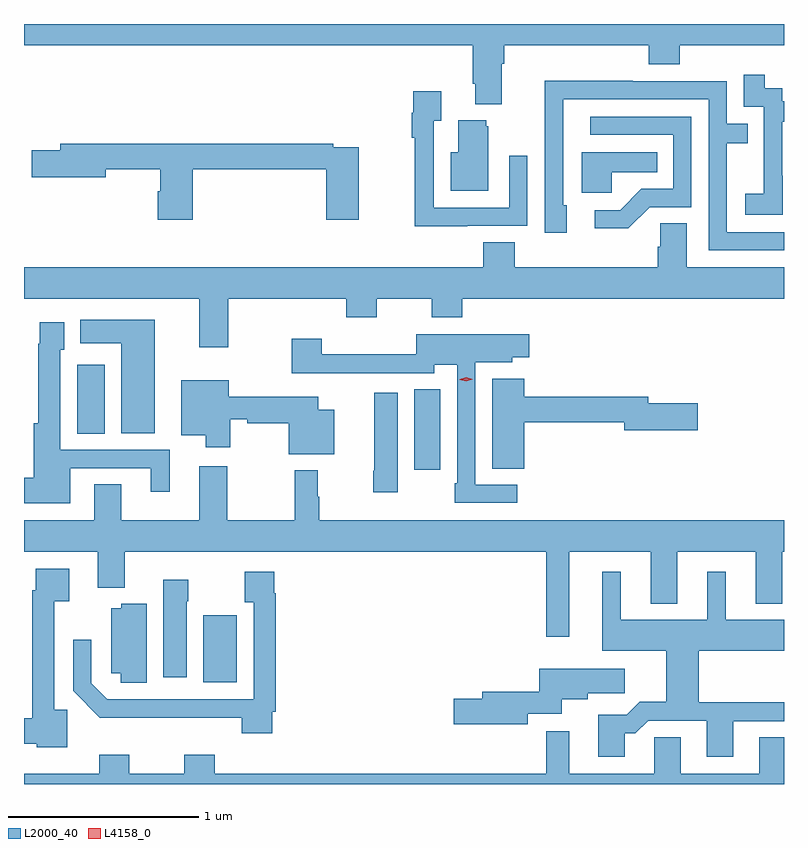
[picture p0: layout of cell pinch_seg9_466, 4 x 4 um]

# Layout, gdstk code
import gdstk
lib = gdstk.Library(unit=1e-6, precision=1e-09)
def R(c, l, rs):  # rectangles x0, y0, x1, y1
    for r in rs: c.add(gdstk.rectangle(r[:2], r[2:], *l))
def P(c, l, *ps):  # polygons
    for p in ps: c.add(gdstk.Polygon(p, *l))
L2000_40 = (2000, 40)
L4158_0 = (4158, 0)

pinch_seg9_466 = lib.new_cell('pinch_seg9_466')
R(pinch_seg9_466, L2000_40, [(335.846,1191.522,335.983,1191.947), (334.073,1191.712,334.216,1192.075)])
P(pinch_seg9_466, L2000_40, [(336.307,1193.66),(336.32,1193.66),(336.32,1193.756),(337.079,1193.756),(337.079,1193.657),(337.244,1193.657),(337.244,1193.756),(337.792,1193.756),(337.792,1193.869),(333.792,1193.869),(333.792,1193.756),(336.155,1193.756),(336.155,1193.554),(336.167,1193.554),(336.167,1193.447),(336.307,1193.447)],
  [(337.785,1193.071),(337.784,1193.071),(337.784,1193.355),(337.792,1193.355),(337.792,1193.463),(337.782,1193.463),(337.782,1193.532),(337.69,1193.532),(337.69,1193.602),(337.581,1193.602),(337.581,1193.433),(337.686,1193.433),(337.686,1193.204),(337.685,1193.204),(337.685,1192.975),(337.587,1192.975),(337.587,1192.865),(337.785,1192.865)],
  [(337.792,1192.773),(337.491,1192.773),(337.491,1193.242),(337.601,1193.242),(337.601,1193.343),(337.491,1193.343),(337.491,1193.568),(336.995,1193.568),(336.995,1193.57),(336.532,1193.57),(336.532,1193.263),(336.534,1193.263),(336.534,1192.77),(336.649,1192.77),(336.649,1192.914),(336.63,1192.914),(336.63,1193.218),(336.631,1193.218),(336.631,1193.472),(337.395,1193.472),(337.395,1192.677),(337.792,1192.677)],
  [(336.125,1192.806),(336.441,1192.806),(336.441,1193.176),(336.345,1193.176),(336.345,1192.902),(335.949,1192.902),(335.949,1193.359),(335.989,1193.359),(335.989,1193.515),(335.841,1193.515),(335.841,1193.402),(335.833,1193.402),(335.833,1193.27),(335.848,1193.27),(335.848,1192.805),(336.125,1192.805)],
  [(337.086,1192.905),(337.305,1192.905),(337.305,1193.382),(336.771,1193.382),(336.771,1193.286),(337.209,1193.286),(337.209,1193.001),(337.04,1193.001),(336.929,1192.89),(336.795,1192.89),(336.795,1192.793),(336.973,1192.793)],
  [(336.235,1193.331),(336.224,1193.331),(336.224,1193.362),(336.077,1193.362),(336.077,1193.194),(336.038,1193.194),(336.038,1192.991),(336.235,1192.991)],
  [(334.679,1193.104),(335.384,1193.104),(335.384,1192.839),(335.554,1192.839),(335.554,1193.22),(335.42,1193.22),(335.42,1193.24),(333.983,1193.24),(333.983,1193.204),(333.834,1193.204),(333.834,1193.062),(334.222,1193.062),(334.222,1193.104),(334.508,1193.104),(334.508,1192.989),(334.496,1192.989),(334.496,1192.839),(334.679,1192.839)],
  [(336.885,1193.09),(337.124,1193.09),(337.124,1193.194),(336.728,1193.194),(336.728,1192.982),(336.885,1192.982)],
  [(334.868,1192.424),(335.489,1192.424),(335.489,1192.325),(335.649,1192.325),(335.649,1192.424),(335.938,1192.424),(335.938,1192.325),(336.098,1192.325),(336.098,1192.424),(337.792,1192.424),(337.792,1192.588),(337.279,1192.588),(337.279,1192.82),(337.14,1192.82),(337.14,1192.697),(337.127,1192.697),(337.127,1192.588),(336.374,1192.588),(336.374,1192.721),(336.209,1192.721),(336.209,1192.588),(333.792,1192.588),(333.792,1192.424),(334.715,1192.424),(334.715,1192.167),(334.868,1192.167)],
  [(334.48,1192.312),(334.088,1192.312),(334.088,1192.19),(334.304,1192.19),(334.304,1191.716),(334.48,1191.716)],
  [(334.036,1191.531),(334.46,1191.531),(334.46,1191.408),(334.558,1191.408),(334.558,1191.627),(333.984,1191.627),(333.984,1192.155),(334.003,1192.155),(334.003,1192.3),(333.876,1192.3),(333.876,1192.187),(333.868,1192.187),(333.868,1191.769),(333.842,1191.769),(333.842,1191.482),(333.792,1191.482),(333.792,1191.347),(334.036,1191.347)],
  [(336.388,1191.444),(336.168,1191.444),(336.168,1192.088),(336.363,1192.088),(336.363,1192.115),(336.451,1192.115),(336.451,1192.237),(335.856,1192.237),(335.856,1192.13),(335.36,1192.13),(335.36,1192.213),(335.2,1192.213),(335.2,1192.031),(335.443,1192.031),(335.443,1192.032),(335.952,1192.032),(335.952,1192.076),(336.072,1192.076),(336.072,1191.451),(336.06,1191.451),(336.06,1191.348),(336.388,1191.348)],
  [(336.424,1191.772),(336.95,1191.772),(336.95,1191.73),(337.339,1191.73),(337.339,1191.872),(337.078,1191.872),(337.078,1191.908),(336.424,1191.908),(336.424,1192.003),(336.257,1192.003),(336.257,1191.529),(336.424,1191.529)],
  [(335.425,1191.838),(335.34,1191.838),(335.34,1191.908),(334.87,1191.908),(334.87,1191.994),(334.619,1191.994),(334.619,1191.704),(334.748,1191.704),(334.748,1191.642),(334.878,1191.642),(334.878,1191.79),(334.966,1191.79),(334.966,1191.768),(335.186,1191.768),(335.186,1191.605),(335.425,1191.605)],
  [(335.758,1191.928),(335.636,1191.928),(335.636,1191.517),(335.629,1191.517),(335.629,1191.405),(335.758,1191.405)],
  [(336.661,1191.092),(337.091,1191.092),(337.091,1190.819),(337.231,1190.819),(337.231,1191.092),(337.643,1191.092),(337.643,1190.819),(337.783,1190.819),(337.783,1191.092),(337.792,1191.092),(337.792,1191.256),(335.345,1191.256),(335.345,1191.38),(335.338,1191.38),(335.338,1191.52),(335.217,1191.52),(335.217,1191.256),(334.863,1191.256),(334.863,1191.541),(334.715,1191.541),(334.715,1191.256),(334.303,1191.256),(334.303,1191.446),(334.163,1191.446),(334.163,1191.256),(333.792,1191.256),(333.792,1191.092),(334.181,1191.092),(334.181,1190.903),(334.321,1190.903),(334.321,1191.092),(336.54,1191.092),(336.54,1190.643),(336.661,1190.643)],
  [(334.02,1190.259),(333.951,1190.259),(333.951,1190.831),(334.03,1190.831),(334.03,1191.001),(333.855,1191.001),(333.855,1190.888),(333.835,1190.888),(333.835,1190.216),(333.792,1190.216),(333.792,1190.081),(333.858,1190.081),(333.858,1190.063),(334.02,1190.063)],
  [(336.955,1190.135),(337.01,1190.135),(337.077,1190.202),(337.385,1190.202),(337.385,1190.013),(337.525,1190.013),(337.525,1190.199),(337.792,1190.199),(337.792,1190.3),(337.343,1190.3),(337.343,1190.57),(337.792,1190.57),(337.792,1190.734),(337.486,1190.734),(337.486,1190.986),(337.388,1190.986),(337.388,1190.734),(336.934,1190.734),(336.934,1190.986),(336.836,1190.986),(336.836,1190.57),(337.172,1190.57),(337.172,1190.303),(337.034,1190.303),(336.964,1190.233),(336.815,1190.233),(336.815,1190.013),(336.955,1190.013)],
  [(335.098,1190.248),(335.117,1190.248),(335.117,1190.873),(335.11,1190.873),(335.11,1190.986),(334.955,1190.986),(334.955,1190.826),(335.001,1190.826),(335.001,1190.316),(334.23,1190.316),(334.146,1190.4),(334.146,1190.629),(334.05,1190.629),(334.05,1190.36),(334.191,1190.219),(334.937,1190.219),(334.937,1190.136),(335.098,1190.136)],
  [(334.648,1190.831),(334.656,1190.831),(334.656,1190.944),(334.526,1190.944),(334.526,1190.43),(334.648,1190.43)],
  [(334.438,1190.818),(334.305,1190.818),(334.305,1190.794),(334.25,1190.794),(334.25,1190.451),(334.302,1190.451),(334.302,1190.401),(334.438,1190.401)],
  [(334.912,1190.654),(334.911,1190.654),(334.911,1190.757),(334.736,1190.757),(334.736,1190.405),(334.912,1190.405)],
  [(336.442,1190.238),(336.623,1190.238),(336.623,1190.315),(336.76,1190.315),(336.76,1190.347),(336.955,1190.347),(336.955,1190.476),(336.505,1190.476),(336.505,1190.354),(336.203,1190.354),(336.203,1190.318),(336.054,1190.318),(336.054,1190.183),(336.442,1190.183)],
  [(337.249,1190.114),(337.11,1190.114),(337.11,1189.924),(336.661,1189.924),(336.661,1190.146),(336.54,1190.146),(336.54,1189.924),(334.796,1189.924),(334.796,1190.023),(334.636,1190.023),(334.636,1189.924),(334.347,1189.924),(334.347,1190.023),(334.187,1190.023),(334.187,1189.924),(333.792,1189.924),(333.792,1189.869),(337.792,1189.869),(337.792,1190.114),(337.661,1190.114),(337.661,1189.924),(337.249,1189.924)])
P(pinch_seg9_466, L4158_0, [(336.12,1191.989),(336.085,1191.997),(336.085,1191.997),(336.085,1191.998),(336.12,1192.009),(336.154,1192),(336.154,1192),(336.154,1192)])

lib.write_gds('pinch_seg9_466.gds')
